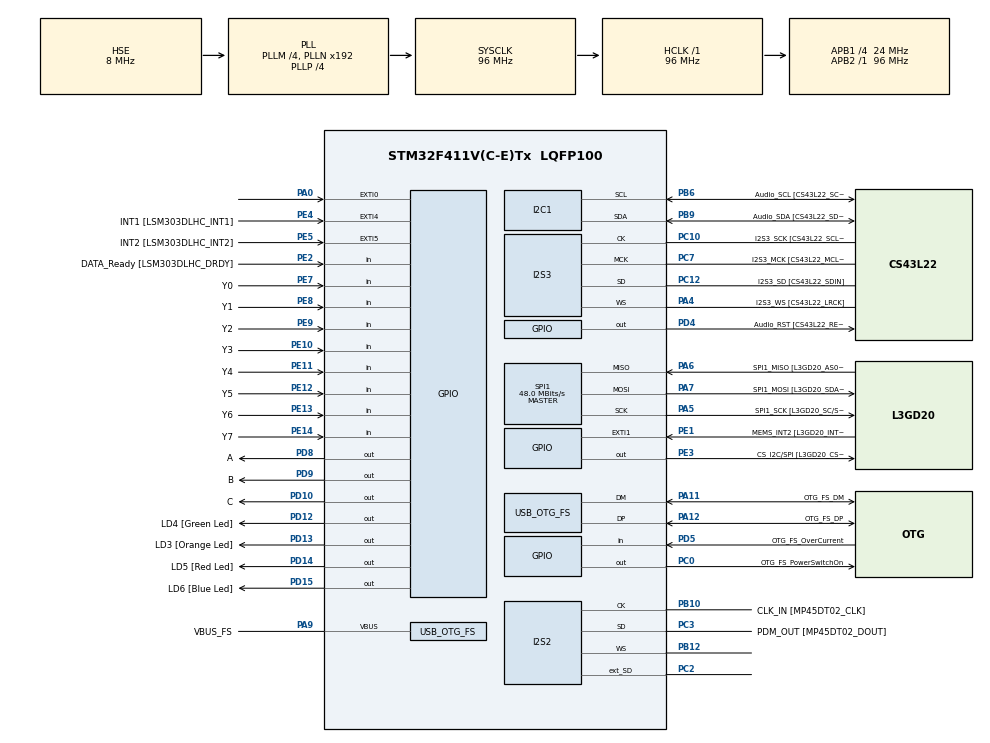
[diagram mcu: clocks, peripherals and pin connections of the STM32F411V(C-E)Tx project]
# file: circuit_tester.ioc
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I2S2.AudioFreq=I2S_AUDIOFREQ_96K
I2S2.ErrorAudioFreq=0.15 %
I2S2.FullDuplexMode=I2S_FULLDUPLEXMODE_ENABLE
I2S2.Instance=SPI$Index
I2S2.RealAudioFreq=96.153 KHz
I2S2.VirtualMode=I2S_MODE_MASTER
I2S3.AudioFreq=I2S_AUDIOFREQ_96K
I2S3.ErrorAudioFreq=-6.99 %
I2S3.FullDuplexMode=I2S_FULLDUPLEXMODE_DISABLE
I2S3.Instance=SPI$Index
I2S3.RealAudioFreq=89.285 KHz
I2S3.VirtualMode=I2S_MODE_MASTER
Mcu.Family=STM32F4
Mcu.Name=STM32F411V(C-E)Tx
Mcu.Package=LQFP100
NVIC.OTG_FS_IRQn=true\:0\:0\:false\:false\:true\:true\:true\:true
NVIC.PriorityGroup=NVIC_PRIORITYGROUP_0
PA0-WKUP.GPIO_ModeDefaultEXTI=GPIO_MODE_EVT_RISING
PA0-WKUP.Signal=GPXTI0
PA10.GPIO_Label=OTG_FS_ID
PA10.Signal=USB_OTG_FS_ID
PA11.GPIO_Label=OTG_FS_DM
PA11.Mode=Host_Only
PA11.Signal=USB_OTG_FS_DM
PA12.GPIO_Label=OTG_FS_DP
PA12.Mode=Host_Only
PA12.Signal=USB_OTG_FS_DP
PA13.GPIO_Label=SWDIO
PA13.Mode=Serial_Wire
PA13.Signal=SYS_JTMS-SWDIO
PA14.GPIO_Label=SWCLK
PA14.Mode=Serial_Wire
PA14.Signal=SYS_JTCK-SWCLK
PA4.GPIO_Label=I2S3_WS [CS43L22_LRCK]
PA4.GPIO_Mode=GPIO_MODE_AF_PP
PA4.GPIO_PuPd=GPIO_NOPULL
PA4.GPIO_Speed=GPIO_SPEED_FREQ_LOW
PA4.Mode=Half_Duplex_Master
PA4.Signal=I2S3_WS
PA5.GPIO_Label=SPI1_SCK [L3GD20_SC/SPC]
PA5.Mode=Full_Duplex_Master
PA5.Signal=SPI1_SCK
PA6.GPIO_Label=SPI1_MISO [L3GD20_AS0/SDO]
PA6.Mode=Full_Duplex_Master
PA6.Signal=SPI1_MISO
PA7.GPIO_Label=SPI1_MOSI [L3GD20_SDA/SDI/SDO]
PA7.Mode=Full_Duplex_Master
PA7.Signal=SPI1_MOSI
PA9.GPIO_Label=VBUS_FS
PA9.Mode=Activate_VBUS
PA9.Signal=USB_OTG_FS_VBUS
PB10.GPIO_Label=CLK_IN [MP45DT02_CLK]
PB10.Mode=Full_Duplex_Master
PB10.Signal=I2S2_CK
PB12.Mode=Full_Duplex_Master
PB12.Signal=I2S2_WS
PB3.GPIO_Label=SWO
PB3.Signal=SYS_JTDO-SWO
PB6.GPIO_Label=Audio_SCL [CS43L22_SCL]
PB6.GPIO_Mode=GPIO_MODE_AF_OD
PB6.GPIO_Pu=GPIO_PULLUP
PB6.GPIO_PuPd=GPIO_NOPULL
PB6.GPIO_Speed=GPIO_SPEED_FREQ_LOW
PB6.Mode=I2C
PB6.Signal=I2C1_SCL
PB9.GPIO_Label=Audio_SDA [CS43L22_SDA]
PB9.GPIO_Mode=GPIO_MODE_AF_OD
PB9.GPIO_Pu=GPIO_PULLUP
PB9.GPIO_PuPd=GPIO_NOPULL
PB9.GPIO_Speed=GPIO_SPEED_FREQ_LOW
PB9.Mode=I2C
PB9.Signal=I2C1_SDA
PC0.GPIO_Label=OTG_FS_PowerSwitchOn
PC0.PinState=GPIO_PIN_SET
PC0.Signal=GPIO_Output
PC10.GPIO_Label=I2S3_SCK [CS43L22_SCLK]
PC10.GPIO_Mode=GPIO_MODE_AF_PP
PC10.GPIO_PuPd=GPIO_NOPULL
PC10.GPIO_Speed=GPIO_SPEED_FREQ_LOW
PC10.Mode=Half_Duplex_Master
PC10.Signal=I2S3_CK
PC12.GPIO_Label=I2S3_SD [CS43L22_SDIN]
PC12.GPIO_Mode=GPIO_MODE_AF_PP
PC12.GPIO_PuPd=GPIO_NOPULL
PC12.GPIO_Speed=GPIO_SPEED_FREQ_LOW
PC12.Mode=Half_Duplex_Master
PC12.Signal=I2S3_SD
PC14-OSC32_IN.GPIO_Label=PC14-OSC32_IN
PC14-OSC32_IN.Mode=LSE-External-Oscillator
PC14-OSC32_IN.Signal=RCC_OSC32_IN
PC15-OSC32_OUT.GPIO_Label=PC15-OSC32_OUT
PC15-OSC32_OUT.Mode=LSE-External-Oscillator
PC15-OSC32_OUT.Signal=RCC_OSC32_OUT
PC2.Mode=Full_Duplex_Master
PC2.Signal=I2S2_ext_SD
PC3.GPIO_Label=PDM_OUT [MP45DT02_DOUT]
PC3.Mode=Full_Duplex_Master
PC3.Signal=I2S2_SD
PC7.GPIO_Label=I2S3_MCK [CS43L22_MCLK]
PC7.GPIO_Mode=GPIO_MODE_AF_PP
PC7.GPIO_PuPd=GPIO_NOPULL
PC7.GPIO_Speed=GPIO_SPEED_FREQ_LOW
PC7.Mode=Master_Clock_Activated
PC7.Signal=I2S3_MCK
PD10.GPIO_Label=C
PD10.PinState=GPIO_PIN_SET
PD10.Signal=GPIO_Output
PD12.GPIO_Label=LD4 [Green Led]
PD12.GPIO_PuPd=GPIO_NOPULL
PD12.GPIO_Speed=GPIO_SPEED_FREQ_LOW
PD12.Signal=GPIO_Output
PD13.GPIO_Label=LD3 [Orange Led]
PD13.GPIO_PuPd=GPIO_NOPULL
PD13.GPIO_Speed=GPIO_SPEED_FREQ_LOW
PD13.Signal=GPIO_Output
PD14.GPIO_Label=LD5 [Red Led]
PD14.GPIO_PuPd=GPIO_NOPULL
PD14.GPIO_Speed=GPIO_SPEED_FREQ_LOW
PD14.Signal=GPIO_Output
PD15.GPIO_Label=LD6 [Blue Led]
PD15.GPIO_PuPd=GPIO_NOPULL
PD15.GPIO_Speed=GPIO_SPEED_FREQ_LOW
PD15.Signal=GPIO_Output
PD4.GPIO_Label=Audio_RST [CS43L22_RESET]
PD4.Signal=GPIO_Output
PD5.GPIO_Label=OTG_FS_OverCurrent
PD5.Signal=GPIO_Input
PD8.GPIO_Label=A
PD8.PinState=GPIO_PIN_SET
PD8.Signal=GPIO_Output
PD9.GPIO_Label=B
PD9.PinState=GPIO_PIN_SET
PD9.Signal=GPIO_Output
PE1.GPIO_Label=MEMS_INT2 [L3GD20_INT2]
PE1.GPIO_ModeDefaultEXTI=GPIO_MODE_EVT_RISING
PE1.Signal=GPXTI1
PE10.GPIO_Label=Y3
PE10.Signal=GPIO_Input
PE11.GPIO_Label=Y4
PE11.Signal=GPIO_Input
PE12.GPIO_Label=Y5
PE12.Signal=GPIO_Input
PE13.GPIO_Label=Y6
PE13.Signal=GPIO_Input
PE14.GPIO_Label=Y7
PE14.Signal=GPIO_Input
PE2.GPIO_Label=DATA_Ready [LSM303DLHC_DRDY]
PE2.Signal=GPIO_Input
PE3.GPIO_Label=CS_I2C/SPI [L3GD20_CS_I2C/SPI]
PE3.Signal=GPIO_Output
PE4.GPIO_Label=INT1 [LSM303DLHC_INT1]
PE4.GPIO_ModeDefaultEXTI=GPIO_MODE_EVT_RISING
PE4.Signal=GPXTI4
PE5.GPIO_Label=INT2 [LSM303DLHC_INT2]
PE5.GPIO_ModeDefaultEXTI=GPIO_MODE_EVT_RISING
PE5.Signal=GPXTI5
PE7.GPIO_Label=Y0
PE7.Signal=GPIO_Input
PE8.GPIO_Label=Y1
PE8.Signal=GPIO_Input
PE9.GPIO_Label=Y2
PE9.Signal=GPIO_Input
PH0\ -\ OSC_IN.GPIO_Label=PH0-OSC_IN
PH0\ -\ OSC_IN.Mode=HSE-External-Oscillator
PH0\ -\ OSC_IN.Signal=RCC_OSC_IN
PH1\ -\ OSC_OUT.GPIO_Label=PH1-OSC_OUT
PH1\ -\ OSC_OUT.Mode=HSE-External-Oscillator
PH1\ -\ OSC_OUT.Signal=RCC_OSC_OUT
ProjectManager.HeapSize=0x200
ProjectManager.StackSize=0x400
ProjectManager.TargetToolchain=STM32CubeIDE
RCC.48MHZClocksFreq_Value=48000000
RCC.AHBFreq_Value=96000000
RCC.APB1CLKDivider=RCC_HCLK_DIV4
RCC.APB1Freq_Value=24000000
RCC.APB1TimFreq_Value=48000000
RCC.APB2Freq_Value=96000000
RCC.APB2TimFreq_Value=96000000
RCC.CortexFreq_Value=96000000
RCC.HCLKFreq_Value=96000000
RCC.HSE_VALUE=8000000
RCC.HSI_VALUE=16000000
RCC.PLLI2SM=5
RCC.PLLI2SN=200
RCC.PLLM=4
RCC.PLLP=RCC_PLLP_DIV4
RCC.PLLQ=8
RCC.SYSCLKFreq_VALUE=96000000
RCC.SYSCLKSource=RCC_SYSCLKSOURCE_PLLCLK
RCC.VCOOutputFreq_Value=384000000
SPI1.BaudRatePrescaler=SPI_BAUDRATEPRESCALER_2
SPI1.CalculateBaudRate=48.0 MBits/s
SPI1.Direction=SPI_DIRECTION_2LINES
SPI1.Mode=SPI_MODE_MASTER
SPI1.VirtualType=VM_MASTER
USB_HOST.BSP.number=1
USB_HOST.USBH_HandleTypeDef=hUsbHostFS
USB_HOST.VirtualModeFS=Cdc
USB_HOST0.BSP.STBoard=false
USB_HOST0.BSP.api=Unknown
USB_HOST0.BSP.instance=PC0
USB_HOST0.BSP.ip=GPIO
USB_HOST0.BSP.mode=Output
USB_HOST0.BSP.name=Drive_VBUS_FS
USB_HOST0.BSP.solution=PC0
USB_OTG_FS.VirtualMode=Host_Only
USB_OTG_FS.phy_itface=HCD_PHY_EMBEDDED
VP_USB_HOST_VS_USB_HOST_CDC_FS.Mode=CDC_FS
board=STM32F411E-DISCO

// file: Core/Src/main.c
/* USER CODE BEGIN Header */
/**
  ******************************************************************************
  * @file           : main.c
  * @brief          : Main program body
  ******************************************************************************
  * @attention
  *
  * Copyright (c) 2023 STMicroelectronics.
  * All rights reserved.
  *
  * This software is licensed under terms that can be found in the LICENSE file
  * in the root directory of this software component.
  * If no LICENSE file comes with this software, it is provided AS-IS.
  *
  ******************************************************************************
  */
/* USER CODE END Header */
#include "main.h"
#include "usb_host.h"

/* USER CODE BEGIN Includes */
#include <stdlib.h>
/* USER CODE END Includes */

/* USER CODE BEGIN PD */
#define Y_Pins {GPIO_PIN_7, GPIO_PIN_8, GPIO_PIN_9, GPIO_PIN_10, GPIO_PIN_11, GPIO_PIN_12, GPIO_PIN_13, GPIO_PIN_14};
/* USER CODE END PD */

I2C_HandleTypeDef hi2c1;

I2S_HandleTypeDef hi2s2;
I2S_HandleTypeDef hi2s3;

SPI_HandleTypeDef hspi1;

void SystemClock_Config(void);
void PeriphCommonClock_Config(void);
static void MX_GPIO_Init(void);
static void MX_I2C1_Init(void);
static void MX_I2S2_Init(void);
static void MX_I2S3_Init(void);
static void MX_SPI1_Init(void);
void MX_USB_HOST_Process(void);

int main(void)
{

  /* MCU Configuration--------------------------------------------------------*/

  /* Reset of all peripherals, Initializes the Flash interface and the Systick. */
  HAL_Init();

  /* Configure the system clock */
  SystemClock_Config();

/* Configure the peripherals common clocks */
  PeriphCommonClock_Config();

  /* Initialize all configured peripherals */
  MX_GPIO_Init();
  MX_I2C1_Init();
  MX_I2S2_Init();
  MX_I2S3_Init();
  MX_SPI1_Init();
  MX_USB_HOST_Init();
  /* USER CODE BEGIN 2 */
  const int Y_Pinout[8] = Y_Pins;

  void set_SELECT(int a, int b, int c) {
      HAL_GPIO_WritePin(A_GPIO_Port, A_Pin, a);
      HAL_GPIO_WritePin(B_GPIO_Port, B_Pin, b);
      HAL_GPIO_WritePin(C_GPIO_Port, C_Pin, c);
  }

  int* read_OUTPUT() {
      int *output = malloc(8 * sizeof(int));
      for (int i = 0; i < 8; i++) {
          output[i] = HAL_GPIO_ReadPin(GPIOE, Y_Pinout[i]);
      }

      return output;
  }

  void ERROR_blink() {
      while (1) {
          HAL_GPIO_WritePin(GPIOD, GPIO_PIN_14, GPIO_PIN_SET);
          HAL_Delay(300);
          HAL_GPIO_WritePin(GPIOD, GPIO_PIN_14, GPIO_PIN_RESET);
          HAL_Delay(300);
      }
  }

  void onetime_OK_blink() {
      HAL_GPIO_WritePin(GPIOD, GPIO_PIN_15, GPIO_PIN_SET);
      HAL_Delay(300);
      HAL_GPIO_WritePin(GPIOD, GPIO_PIN_15, GPIO_PIN_RESET);
  }

  void onetime_ERROR_blink() {
      HAL_GPIO_WritePin(GPIOD, GPIO_PIN_13, GPIO_PIN_SET);
      HAL_Delay(300);
      HAL_GPIO_WritePin(GPIOD, GPIO_PIN_13, GPIO_PIN_RESET);
  }
  /* USER CODE END 2 */

  /* Infinite loop */
  /* USER CODE BEGIN WHILE */
  while (1)
  {

	int isCorrect = 1;

	for (int c = 0; c < 2; c++) {
	  for (int b = 0; b < 2; b++) {
		  for (int a = 0; a < 2; a++) {
			  // set A, B, C
			  set_SELECT(a, b, c);

			  HAL_Delay(100); // Allow the output to settle

			  int *y_output;
			  y_output = read_OUTPUT();

			  // Expected_output is binary number of length 8,
			  // with 0 at the position of binary number with the bits c, b, a
			  int expected_output = 0xFF - (1 << (c * 4 + b * 2 + a));

			  for (int i = 0; i < 8; i++) {
				  // Compare each bit
				  if (*(y_output + i) != (expected_output >> i & 1)) {
					  isCorrect = 0;
				  }
			  }

			  if (isCorrect) {
				  onetime_OK_blink();
			  } else {
				  onetime_ERROR_blink();
			  }
		  }
	  }
	}

	if (isCorrect) {
	  HAL_GPIO_WritePin(GPIOD, GPIO_PIN_12, 1);
	} else {
	  ERROR_blink();
	}

	break;

    /* USER CODE END WHILE */
    MX_USB_HOST_Process();

  }
}

void SystemClock_Config(void)
{
  RCC_OscInitTypeDef RCC_OscInitStruct = {0};
  RCC_ClkInitTypeDef RCC_ClkInitStruct = {0};

  /** Configure the main internal regulator output voltage
  */
  __HAL_RCC_PWR_CLK_ENABLE();
  __HAL_PWR_VOLTAGESCALING_CONFIG(PWR_REGULATOR_VOLTAGE_SCALE1);

  /** Initializes the RCC Oscillators according to the specified parameters
  * in the RCC_OscInitTypeDef structure.
  */
  RCC_OscInitStruct.OscillatorType = RCC_OSCILLATORTYPE_HSE;
  RCC_OscInitStruct.HSEState = RCC_HSE_ON;
  RCC_OscInitStruct.PLL.PLLState = RCC_PLL_ON;
  RCC_OscInitStruct.PLL.PLLSource = RCC_PLLSOURCE_HSE;
  RCC_OscInitStruct.PLL.PLLM = 4;
  RCC_OscInitStruct.PLL.PLLN = 192;
  RCC_OscInitStruct.PLL.PLLP = RCC_PLLP_DIV4;
  RCC_OscInitStruct.PLL.PLLQ = 8;
  if (HAL_RCC_OscConfig(&RCC_OscInitStruct) != HAL_OK)
  {
    Error_Handler();
  }

  /** Initializes the CPU, AHB and APB buses clocks
  */
  RCC_ClkInitStruct.ClockType = RCC_CLOCKTYPE_HCLK|RCC_CLOCKTYPE_SYSCLK
                              |RCC_CLOCKTYPE_PCLK1|RCC_CLOCKTYPE_PCLK2;
  RCC_ClkInitStruct.SYSCLKSource = RCC_SYSCLKSOURCE_PLLCLK;
  RCC_ClkInitStruct.AHBCLKDivider = RCC_SYSCLK_DIV1;
  RCC_ClkInitStruct.APB1CLKDivider = RCC_HCLK_DIV4;
  RCC_ClkInitStruct.APB2CLKDivider = RCC_HCLK_DIV1;

  if (HAL_RCC_ClockConfig(&RCC_ClkInitStruct, FLASH_LATENCY_3) != HAL_OK)
  {
    Error_Handler();
  }
}

void PeriphCommonClock_Config(void)
{
  RCC_PeriphCLKInitTypeDef PeriphClkInitStruct = {0};

  /** Initializes the peripherals clock
  */
  PeriphClkInitStruct.PeriphClockSelection = RCC_PERIPHCLK_I2S;
  PeriphClkInitStruct.PLLI2S.PLLI2SN = 200;
  PeriphClkInitStruct.PLLI2S.PLLI2SM = 5;
  PeriphClkInitStruct.PLLI2S.PLLI2SR = 2;
  if (HAL_RCCEx_PeriphCLKConfig(&PeriphClkInitStruct) != HAL_OK)
  {
    Error_Handler();
  }
}

static void MX_I2C1_Init(void)
{

  hi2c1.Instance = I2C1;
  hi2c1.Init.ClockSpeed = 100000;
  hi2c1.Init.DutyCycle = I2C_DUTYCYCLE_2;
  hi2c1.Init.OwnAddress1 = 0;
  hi2c1.Init.AddressingMode = I2C_ADDRESSINGMODE_7BIT;
  hi2c1.Init.DualAddressMode = I2C_DUALADDRESS_DISABLE;
  hi2c1.Init.OwnAddress2 = 0;
  hi2c1.Init.GeneralCallMode = I2C_GENERALCALL_DISABLE;
  hi2c1.Init.NoStretchMode = I2C_NOSTRETCH_DISABLE;
  if (HAL_I2C_Init(&hi2c1) != HAL_OK)
  {
    Error_Handler();
  }

}

static void MX_I2S2_Init(void)
{

  hi2s2.Instance = SPI2;
  hi2s2.Init.Mode = I2S_MODE_MASTER_TX;
  hi2s2.Init.Standard = I2S_STANDARD_PHILIPS;
  hi2s2.Init.DataFormat = I2S_DATAFORMAT_16B;
  hi2s2.Init.MCLKOutput = I2S_MCLKOUTPUT_DISABLE;
  hi2s2.Init.AudioFreq = I2S_AUDIOFREQ_96K;
  hi2s2.Init.CPOL = I2S_CPOL_LOW;
  hi2s2.Init.ClockSource = I2S_CLOCK_PLL;
  hi2s2.Init.FullDuplexMode = I2S_FULLDUPLEXMODE_ENABLE;
  if (HAL_I2S_Init(&hi2s2) != HAL_OK)
  {
    Error_Handler();
  }

}

static void MX_I2S3_Init(void)
{

  hi2s3.Instance = SPI3;
  hi2s3.Init.Mode = I2S_MODE_MASTER_TX;
  hi2s3.Init.Standard = I2S_STANDARD_PHILIPS;
  hi2s3.Init.DataFormat = I2S_DATAFORMAT_16B;
  hi2s3.Init.MCLKOutput = I2S_MCLKOUTPUT_ENABLE;
  hi2s3.Init.AudioFreq = I2S_AUDIOFREQ_96K;
  hi2s3.Init.CPOL = I2S_CPOL_LOW;
  hi2s3.Init.ClockSource = I2S_CLOCK_PLL;
  hi2s3.Init.FullDuplexMode = I2S_FULLDUPLEXMODE_DISABLE;
  if (HAL_I2S_Init(&hi2s3) != HAL_OK)
  {
    Error_Handler();
  }

}

static void MX_SPI1_Init(void)
{

  /* SPI1 parameter configuration*/
  hspi1.Instance = SPI1;
  hspi1.Init.Mode = SPI_MODE_MASTER;
  hspi1.Init.Direction = SPI_DIRECTION_2LINES;
  hspi1.Init.DataSize = SPI_DATASIZE_8BIT;
  hspi1.Init.CLKPolarity = SPI_POLARITY_LOW;
  hspi1.Init.CLKPhase = SPI_PHASE_1EDGE;
  hspi1.Init.NSS = SPI_NSS_SOFT;
  hspi1.Init.BaudRatePrescaler = SPI_BAUDRATEPRESCALER_2;
  hspi1.Init.FirstBit = SPI_FIRSTBIT_MSB;
  hspi1.Init.TIMode = SPI_TIMODE_DISABLE;
  hspi1.Init.CRCCalculation = SPI_CRCCALCULATION_DISABLE;
  hspi1.Init.CRCPolynomial = 10;
  if (HAL_SPI_Init(&hspi1) != HAL_OK)
  {
    Error_Handler();
  }

}

static void MX_GPIO_Init(void)
{
  GPIO_InitTypeDef GPIO_InitStruct = {0};

  /* GPIO Ports Clock Enable */
  __HAL_RCC_GPIOE_CLK_ENABLE();
  __HAL_RCC_GPIOC_CLK_ENABLE();
  __HAL_RCC_GPIOH_CLK_ENABLE();
  __HAL_RCC_GPIOA_CLK_ENABLE();
  __HAL_RCC_GPIOB_CLK_ENABLE();
  __HAL_RCC_GPIOD_CLK_ENABLE();

  /*Configure GPIO pin Output Level */
  HAL_GPIO_WritePin(CS_I2C_SPI_GPIO_Port, CS_I2C_SPI_Pin, GPIO_PIN_RESET);

  /*Configure GPIO pin Output Level */
  HAL_GPIO_WritePin(OTG_FS_PowerSwitchOn_GPIO_Port, OTG_FS_PowerSwitchOn_Pin, GPIO_PIN_SET);

  /*Configure GPIO pin Output Level */
  HAL_GPIO_WritePin(GPIOD, A_Pin|B_Pin|C_Pin, GPIO_PIN_SET);

  /*Configure GPIO pin Output Level */
  HAL_GPIO_WritePin(GPIOD, LD4_Pin|LD3_Pin|LD5_Pin|LD6_Pin
                          |Audio_RST_Pin, GPIO_PIN_RESET);

  /*Configure GPIO pins : DATA_Ready_Pin Y0_Pin Y1_Pin Y2_Pin
                           Y3_Pin Y4_Pin Y5_Pin Y6_Pin
                           Y7_Pin */
  GPIO_InitStruct.Pin = DATA_Ready_Pin|Y0_Pin|Y1_Pin|Y2_Pin
                          |Y3_Pin|Y4_Pin|Y5_Pin|Y6_Pin
                          |Y7_Pin;
  GPIO_InitStruct.Mode = GPIO_MODE_INPUT;
  GPIO_InitStruct.Pull = GPIO_NOPULL;
  HAL_GPIO_Init(GPIOE, &GPIO_InitStruct);

  /*Configure GPIO pin : CS_I2C_SPI_Pin */
  GPIO_InitStruct.Pin = CS_I2C_SPI_Pin;
  GPIO_InitStruct.Mode = GPIO_MODE_OUTPUT_PP;
  GPIO_InitStruct.Pull = GPIO_NOPULL;
  GPIO_InitStruct.Speed = GPIO_SPEED_FREQ_LOW;
  HAL_GPIO_Init(CS_I2C_SPI_GPIO_Port, &GPIO_InitStruct);

  /*Configure GPIO pins : INT1_Pin INT2_Pin MEMS_INT2_Pin */
  GPIO_InitStruct.Pin = INT1_Pin|INT2_Pin|MEMS_INT2_Pin;
  GPIO_InitStruct.Mode = GPIO_MODE_EVT_RISING;
  GPIO_InitStruct.Pull = GPIO_NOPULL;
  HAL_GPIO_Init(GPIOE, &GPIO_InitStruct);

  /*Configure GPIO pin : OTG_FS_PowerSwitchOn_Pin */
  GPIO_InitStruct.Pin = OTG_FS_PowerSwitchOn_Pin;
  GPIO_InitStruct.Mode = GPIO_MODE_OUTPUT_PP;
  GPIO_InitStruct.Pull = GPIO_NOPULL;
  GPIO_InitStruct.Speed = GPIO_SPEED_FREQ_LOW;
  HAL_GPIO_Init(OTG_FS_PowerSwitchOn_GPIO_Port, &GPIO_InitStruct);

  /*Configure GPIO pin : PA0 */
  GPIO_InitStruct.Pin = GPIO_PIN_0;
  GPIO_InitStruct.Mode = GPIO_MODE_EVT_RISING;
  GPIO_InitStruct.Pull = GPIO_NOPULL;
  HAL_GPIO_Init(GPIOA, &GPIO_InitStruct);

  /*Configure GPIO pins : A_Pin B_Pin C_Pin LD4_Pin
                           LD3_Pin LD5_Pin LD6_Pin Audio_RST_Pin */
  GPIO_InitStruct.Pin = A_Pin|B_Pin|C_Pin|LD4_Pin
                          |LD3_Pin|LD5_Pin|LD6_Pin|Audio_RST_Pin;
  GPIO_InitStruct.Mode = GPIO_MODE_OUTPUT_PP;
  GPIO_InitStruct.Pull = GPIO_NOPULL;
  GPIO_InitStruct.Speed = GPIO_SPEED_FREQ_LOW;
  HAL_GPIO_Init(GPIOD, &GPIO_InitStruct);

  /*Configure GPIO pin : OTG_FS_OverCurrent_Pin */
  GPIO_InitStruct.Pin = OTG_FS_OverCurrent_Pin;
  GPIO_InitStruct.Mode = GPIO_MODE_INPUT;
  GPIO_InitStruct.Pull = GPIO_NOPULL;
  HAL_GPIO_Init(OTG_FS_OverCurrent_GPIO_Port, &GPIO_InitStruct);

}

void Error_Handler(void)
{
  __disable_irq();
  while (1)
  {
  }
}
